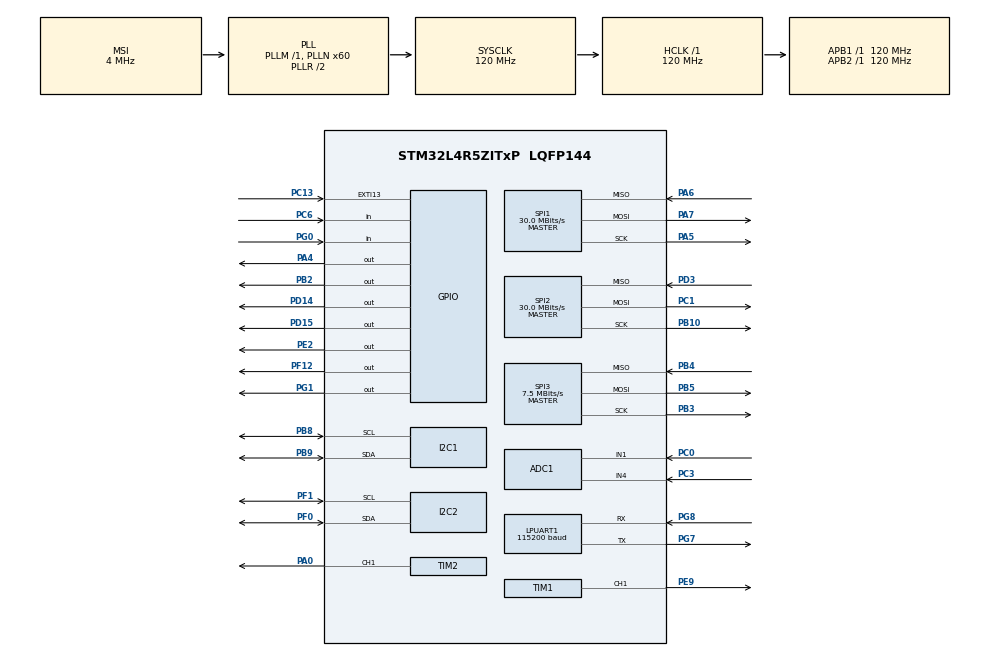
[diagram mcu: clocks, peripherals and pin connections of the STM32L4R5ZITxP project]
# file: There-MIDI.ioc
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ADC1.Channel-0\#ChannelRegularConversion=ADC_CHANNEL_1
ADC1.ClockPrescaler=ADC_CLOCK_ASYNC_DIV64
ADC1.NbrOfConversionFlag=1
ADC1.OffsetNumber-0\#ChannelRegularConversion=ADC_OFFSET_NONE
ADC1.Rank-0\#ChannelRegularConversion=1
ADC1.SamplingTime-0\#ChannelRegularConversion=ADC_SAMPLETIME_2CYCLES_5
ADC1.master=1
Dma.Request0=SPI1_TX
Dma.Request1=TIM2_CH1
Dma.Request2=TIM1_CH1
Dma.SPI1_TX.0.Direction=DMA_MEMORY_TO_PERIPH
Dma.SPI1_TX.0.EventEnable=DISABLE
Dma.SPI1_TX.0.Instance=DMA1_Channel2
Dma.SPI1_TX.0.MemDataAlignment=DMA_MDATAALIGN_BYTE
Dma.SPI1_TX.0.MemInc=DMA_MINC_ENABLE
Dma.SPI1_TX.0.Mode=DMA_NORMAL
Dma.SPI1_TX.0.PeriphDataAlignment=DMA_PDATAALIGN_BYTE
Dma.SPI1_TX.0.PeriphInc=DMA_PINC_DISABLE
Dma.SPI1_TX.0.Polarity=HAL_DMAMUX_REQUEST_GEN_RISING
Dma.SPI1_TX.0.Priority=DMA_PRIORITY_LOW
Dma.SPI1_TX.0.RequestNumber=1
Dma.SPI1_TX.0.SignalID=NONE
Dma.SPI1_TX.0.SyncEnable=DISABLE
Dma.SPI1_TX.0.SyncPolarity=HAL_DMAMUX_SYNC_NO_EVENT
Dma.SPI1_TX.0.SyncRequestNumber=1
Dma.SPI1_TX.0.SyncSignalID=NONE
Dma.TIM1_CH1.2.Direction=DMA_MEMORY_TO_PERIPH
Dma.TIM1_CH1.2.EventEnable=DISABLE
Dma.TIM1_CH1.2.Instance=DMA1_Channel1
Dma.TIM1_CH1.2.MemDataAlignment=DMA_MDATAALIGN_WORD
Dma.TIM1_CH1.2.MemInc=DMA_MINC_ENABLE
Dma.TIM1_CH1.2.Mode=DMA_NORMAL
Dma.TIM1_CH1.2.PeriphDataAlignment=DMA_PDATAALIGN_WORD
Dma.TIM1_CH1.2.PeriphInc=DMA_PINC_DISABLE
Dma.TIM1_CH1.2.Polarity=HAL_DMAMUX_REQUEST_GEN_RISING
Dma.TIM1_CH1.2.Priority=DMA_PRIORITY_LOW
Dma.TIM1_CH1.2.RequestNumber=1
Dma.TIM1_CH1.2.SignalID=NONE
Dma.TIM1_CH1.2.SyncEnable=DISABLE
Dma.TIM1_CH1.2.SyncPolarity=HAL_DMAMUX_SYNC_NO_EVENT
Dma.TIM1_CH1.2.SyncRequestNumber=1
Dma.TIM1_CH1.2.SyncSignalID=NONE
Dma.TIM2_CH1.1.Direction=DMA_MEMORY_TO_PERIPH
Dma.TIM2_CH1.1.EventEnable=DISABLE
Dma.TIM2_CH1.1.Instance=DMA1_Channel3
Dma.TIM2_CH1.1.MemDataAlignment=DMA_MDATAALIGN_WORD
Dma.TIM2_CH1.1.MemInc=DMA_MINC_ENABLE
Dma.TIM2_CH1.1.Mode=DMA_NORMAL
Dma.TIM2_CH1.1.PeriphDataAlignment=DMA_PDATAALIGN_WORD
Dma.TIM2_CH1.1.PeriphInc=DMA_PINC_DISABLE
Dma.TIM2_CH1.1.Polarity=HAL_DMAMUX_REQUEST_GEN_RISING
Dma.TIM2_CH1.1.Priority=DMA_PRIORITY_LOW
Dma.TIM2_CH1.1.RequestNumber=1
Dma.TIM2_CH1.1.SignalID=NONE
Dma.TIM2_CH1.1.SyncEnable=DISABLE
Dma.TIM2_CH1.1.SyncPolarity=HAL_DMAMUX_SYNC_NO_EVENT
Dma.TIM2_CH1.1.SyncRequestNumber=1
Dma.TIM2_CH1.1.SyncSignalID=NONE
I2C1.Timing=0x30A175AB
I2C2.Timing=0x30A175AB
LPUART1.BaudRate=115200
LPUART1.WordLength=UART_WORDLENGTH_8B
Mcu.Family=STM32L4
Mcu.Name=STM32L4R5ZITxP
Mcu.Package=LQFP144
NVIC.DMA1_Channel1_IRQn=true\:0\:0\:false\:false\:true\:false\:true\:true
NVIC.DMA1_Channel2_IRQn=true\:0\:0\:false\:false\:true\:false\:true\:true
NVIC.DMA1_Channel3_IRQn=true\:0\:0\:false\:false\:true\:false\:true\:true
NVIC.EXTI15_10_IRQn=true\:0\:0\:false\:false\:true\:true\:true\:true
NVIC.PriorityGroup=NVIC_PRIORITYGROUP_4
NVIC.SPI1_IRQn=true\:0\:0\:false\:false\:true\:true\:true\:true
PA0.Signal=S_TIM2_CH1
PA1.Signal=ADCx_IN6
PA10.Signal=USB_OTG_FS_ID
PA13\ (JTMS/SWDIO).Signal=SYS_JTMS-SWDIO
PA14\ (JTCK/SWCLK).Signal=SYS_JTCK-SWCLK
PA3.Signal=ADCx_IN8
PA4.Signal=GPIO_Output
PA5.Mode=Full_Duplex_Master
PA5.Signal=SPI1_SCK
PA6.Mode=Full_Duplex_Master
PA6.Signal=SPI1_MISO
PA7.Mode=Full_Duplex_Master
PA7.Signal=SPI1_MOSI
PA8.Signal=USB_OTG_FS_SOF
PA9.Signal=USB_OTG_FS_VBUS
PB0.Signal=S_TIM3_CH3
PB1.Signal=ADCx_IN16
PB10.Mode=Full_Duplex_Master
PB10.Signal=SPI2_SCK
PB12.Signal=SAI2_FS_A
PB13.Signal=SAI2_SCK_A
PB14.Signal=S_TIM15_CH1
PB15.Signal=SAI2_SD_A
PB2.Signal=GPIO_Output
PB3\ (JTDO/TRACESWO).Mode=Full_Duplex_Master
PB3\ (JTDO/TRACESWO).Signal=SPI3_SCK
PB4\ (NJTRST).Mode=Full_Duplex_Master
PB4\ (NJTRST).Signal=SPI3_MISO
PB5.Mode=Full_Duplex_Master
PB5.Signal=SPI3_MOSI
PB6.Signal=COMP2_INP
PB8.Mode=I2C
PB8.Signal=I2C1_SCL
PB9.Mode=I2C
PB9.Signal=I2C1_SDA
PC0.Signal=ADCx_IN1
PC1.Mode=Full_Duplex_Master
PC1.Signal=SPI2_MOSI
PC10.Signal=SDMMC1_D2
PC11.Signal=SDMMC1_D3
PC12.Signal=SDMMC1_CK
PC13.Signal=GPXTI13
PC14-OSC32_IN\ (PC14).Signal=RCC_OSC32_IN
PC15-OSC32_OUT\ (PC15).Signal=RCC_OSC32_OUT
PC3.Signal=ADCx_IN4
PC4.Signal=ADCx_IN13
PC5.Signal=ADCx_IN14
PC6.Signal=GPIO_Input
PC7.Signal=S_TIM3_CH2
PC8.Signal=SDMMC1_D0
PC9.Signal=SDMMC1_D1
PD0.Signal=CAN1_RX
PD14.Signal=GPIO_Output
PD15.Signal=GPIO_Output
PD2.Signal=SDMMC1_CMD
PD3.Mode=Full_Duplex_Master
PD3.Signal=SPI2_MISO
PD4.Signal=USART2_RTS
PD5.Signal=USART2_TX
PD6.Signal=USART2_RX
PD8.Signal=USART3_TX
PD9.Signal=USART3_RX
PE0.Signal=S_TIM4_ETR
PE10.Signal=TIM1_CH2N
PE11.Signal=S_TIM1_CH2
PE12.Signal=TIM1_CH3N
PE13.Signal=S_TIM1_CH3
PE14.Signal=TIM1_BKIN2
PE15.Signal=TIM1_BKIN
PE2.Signal=GPIO_Output
PE3.Signal=SAI1_SD_B
PE7.Signal=S_TIM1_ETR
PE8.Signal=TIM1_CH1N
PE9.Signal=S_TIM1_CH1
PF0.Mode=I2C
PF0.Signal=I2C2_SDA
PF1.Mode=I2C
PF1.Signal=I2C2_SCL
PF12.Signal=GPIO_Output
PF2.Signal=I2C2_SMBA
PF7.Signal=SAI1_MCLK_B
PG0.Signal=GPIO_Input
PG1.Signal=GPIO_Output
PG7.Mode=Asynchronous
PG7.Signal=LPUART1_TX
PG8.Mode=Asynchronous
PG8.Signal=LPUART1_RX
PH0-OSC_IN\ (PH0).Mode=HSE-External-Oscillator
PH0-OSC_IN\ (PH0).Signal=RCC_OSC_IN
PH1-OSC_OUT\ (PH1).Mode=HSE-External-Oscillator
PH1-OSC_OUT\ (PH1).Signal=RCC_OSC_OUT
ProjectManager.HeapSize=0x200
ProjectManager.StackSize=0x400
ProjectManager.TargetToolchain=STM32CubeIDE
RCC.ADCFreq_Value=32000000
RCC.AHBFreq_Value=120000000
RCC.APB1Freq_Value=120000000
RCC.APB1TimFreq_Value=120000000
RCC.APB2Freq_Value=120000000
RCC.APB2TimFreq_Value=120000000
RCC.CortexFreq_Value=120000000
RCC.HCLKFreq_Value=120000000
RCC.HSE_VALUE=8000000
RCC.HSI48_VALUE=48000000
RCC.HSI_VALUE=16000000
RCC.LSE_VALUE=32768
RCC.MSI_VALUE=4000000
RCC.PLLN=60
RCC.PLLSAI1N=16
RCC.SYSCLKFreq_VALUE=120000000
RCC.SYSCLKSource=RCC_SYSCLKSOURCE_PLLCLK
RCC.USBFreq_Value=32000000
RCC.VCOOutputFreq_Value=240000000
SH.ADCx_IN1.0=ADC1_IN1,IN1-Single-Ended
SH.ADCx_IN13.0=ADC1_IN13
SH.ADCx_IN14.0=ADC1_IN14
SH.ADCx_IN16.0=ADC1_IN16
SH.ADCx_IN4.0=ADC1_IN4,IN4-Single-Ended
SH.ADCx_IN6.0=ADC1_IN6
SH.ADCx_IN8.0=ADC1_IN8
SH.S_TIM15_CH1.0=TIM15_CH1
SH.S_TIM1_CH1.0=TIM1_CH1,PWM Generation1 CH1
SH.S_TIM1_CH2.0=TIM1_CH2
SH.S_TIM1_CH3.0=TIM1_CH3
SH.S_TIM1_ETR.0=TIM1_ETR
SH.S_TIM2_CH1.0=TIM2_CH1,PWM Generation1 CH1
SH.S_TIM3_CH2.0=TIM3_CH2
SH.S_TIM3_CH3.0=TIM3_CH3
SH.S_TIM4_ETR.0=TIM4_ETR
SPI1.BaudRatePrescaler=SPI_BAUDRATEPRESCALER_4
SPI1.CalculateBaudRate=30.0 MBits/s
SPI1.DataSize=SPI_DATASIZE_8BIT
SPI1.Direction=SPI_DIRECTION_2LINES
SPI1.Mode=SPI_MODE_MASTER
SPI1.VirtualType=VM_MASTER
SPI2.BaudRatePrescaler=SPI_BAUDRATEPRESCALER_4
SPI2.CalculateBaudRate=30.0 MBits/s
SPI2.DataSize=SPI_DATASIZE_8BIT
SPI2.Direction=SPI_DIRECTION_2LINES
SPI2.Mode=SPI_MODE_MASTER
SPI2.VirtualType=VM_MASTER
SPI3.BaudRatePrescaler=SPI_BAUDRATEPRESCALER_16
SPI3.CalculateBaudRate=7.5 MBits/s
SPI3.DataSize=SPI_DATASIZE_8BIT
SPI3.Direction=SPI_DIRECTION_2LINES
SPI3.Mode=SPI_MODE_MASTER
SPI3.VirtualType=VM_MASTER
TIM1.Channel-PWM\ Generation1\ CH1=TIM_CHANNEL_1
TIM1.Period=149
TIM2.Channel-PWM\ Generation1\ CH1=TIM_CHANNEL_1
TIM2.Period=149
VP_TIM1_VS_ClockSourceINT.Mode=Internal
VP_TIM2_VS_ClockSourceINT.Mode=Internal
board=NUCLEO-L4R5ZI-P

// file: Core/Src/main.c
/* USER CODE BEGIN Header */
/**
  ******************************************************************************
  * @file           : main.c
  * @brief          : Main program body
  ******************************************************************************
  * @attention
  *
  * Copyright (c) 2025 STMicroelectronics.
  * All rights reserved.
  *
  * This software is licensed under terms that can be found in the LICENSE file
  * in the root directory of this software component.
  * If no LICENSE file comes with this software, it is provided AS-IS.
  *
  ******************************************************************************
  */
/* USER CODE END Header */
#include "main.h"

/* USER CODE BEGIN Includes */
#include "stdio.h"
#include <stdint.h>
extern const uint8_t blank_home[];
/* USER CODE END Includes */

ADC_HandleTypeDef hadc1;

I2C_HandleTypeDef hi2c1;
I2C_HandleTypeDef hi2c2;

UART_HandleTypeDef hlpuart1;

SPI_HandleTypeDef hspi1;
SPI_HandleTypeDef hspi2;
SPI_HandleTypeDef hspi3;
DMA_HandleTypeDef hdma_spi1_tx;

TIM_HandleTypeDef htim1;
TIM_HandleTypeDef htim2;
DMA_HandleTypeDef hdma_tim1_ch1;
DMA_HandleTypeDef hdma_tim2_ch1;

/* USER CODE BEGIN PV */
#define ToF_W 0x52
#define ToF_R 0x53
#define _4x4 ((uint8_t) 16U)
#define _8x8 ((uint8_t) 64U)
#define continuous 1U
#define Auto 3U
#define RIGHT_CENTER_1 19
#define RIGHT_CENTER_2 20
#define CENTER_ZONE_1 27
#define CENTER_ZONE_2 28
#define CENTER_ZONE_3 35
#define CENTER_ZONE_4 36
#define LEFT_CENTER_1 43
#define LEFT_CENTER_2 44
#define NUM_CHANS 2U
#define LED_MAX 6
#define USE_BRIGHTNESS 1 // 1 = control brightness, 0 = not controlling brightness
#define MAX_PEDAL_VAL 3000U
#define PI 3.14159265
#define TIM_1 ((TIM_TypeDef *) (((0x40000000UL) + 0x00010000UL) + 0x2C00UL))

#define OCTAVE 12U
#define PLAY_ZONE_SIZE 4
#define NOTE_RANGE 18
#define NUM_SCALES 3
#define NUM_INSTRUMENTS 17

#define B1_PORT			GPIOE
#define B1_PIN			GPIO_PIN_10 // last SPI status

#define	B2_PORT			GPIOE
#define	B2_PIN			GPIO_PIN_7 // PB0 reset

#define B3_PORT			GPIOE
#define B3_PIN			GPIO_PIN_8 // command start

#define B4_PORT			GPIOF
#define B4_PIN			GPIO_PIN_15 // Data start

#define B5_PORT			GPIOE
#define B5_PIN			GPIO_PIN_13 // Data start

uint8_t resolution=_8x8, ranging_frequency=15, sharpener_percent=20;
uint16_t integration_time=20;
uint8_t data_to_transfer=0;
uint16_t Tof_values_1[64], Tof_values_2[64]; // 64(8x8) max size

ADC_ChannelConfTypeDef ADC_Chan_Config = {0};
uint32_t ADC_vals[NUM_CHANS], ADC_Channels[NUM_CHANS] = {ADC_CHANNEL_1, ADC_CHANNEL_4};

/* USER CODE END PV */

void SystemClock_Config(void);
static void MX_GPIO_Init(void);
static void MX_DMA_Init(void);
static void MX_SPI1_Init(void);
static void MX_SPI3_Init(void);
static void MX_LPUART1_UART_Init(void);
static void MX_I2C1_Init(void);
static void MX_I2C2_Init(void);
static void MX_SPI2_Init(void);
static void MX_TIM2_Init(void);
static void MX_TIM1_Init(void);
static void MX_ADC1_Init(void);

/* USER CODE BEGIN 0 */

#define TEXT_X 125
#define TEXT_Y 210

#define Oct_text_X 260
#define Oct_text_Y 140

#define Scale_text_X 20
#define Scale_text_Y 120
#define Scale_Spacing 25

#define inst_X 110
#define inst_Y 65

int scale_count = 0;
int inst_counter = 0;

void HAL_GPIO_EXTI_Callback(uint16_t pin) {
	HAL_NVIC_SystemReset();
}

char* Intruments[NUM_INSTRUMENTS] = {"Piano", "Vibraphone", "Acoustic Guitar", "Electric Guitar", "Violin", "Trumpet", "Alto Saxophone", "Ocarina", "Sci-Fi", "Timpani", "Goblins", "Helicopter", "Flute",
									 "Choir", "Marimba", "Telephone", "Gunshots"};
char* Notes[29] = {"C", "C#", "D", "D#", "E", "F", "F#", "G", "G#", "A", "A#", "B", "C", "C#", "D", "D#", "E", "F", "F#", "G", "G#", "A", "A#", "B","C", "C#", "D", "D#", "E"};

uint8_t scales[NUM_SCALES][NOTE_RANGE+1] = {{0,1,2,3,4,5,6,7,8,9,10,11,12,13,14,15,16,17,18},{0,2,4,5,7,9,11,12,14,16,17,19,21,23,24,26,28},{0,2,3,5,7,8,10,12,14,15,17,19,20,22,24,26,27}};
uint8_t instruments[NUM_INSTRUMENTS] = {MEL_GRAND_PIANO, MEL_VIBRAPHONE, MEL_A_GUITAR,
									    MEL_E_GUITAR, MEL_VIOLIN, MEL_TRUMPET, MEL_A_SAX,
									    MEL_OCARINA, MEL_SCIFI, MEL_Timpani, MEL_GOBLINS, MEL_HELICOPTER,
										MEL_FLUTE, MEL_CHOIR, MEL_MARIMBA, MEL_TELEPHONE, MEL_GUNSHOTS};
uint8_t LED_Data_1[LED_MAX][4], LED_Data_2[LED_MAX][4];
uint8_t LED_Mod_1[LED_MAX][4], LED_Mod_2[LED_MAX][4]; // for brightness

int datasentflag_1 = 0; // ensures DMA is not sending another data when first DMA is still being transmitted
int datasentflag_2 = 0;

void HAL_TIM_PWM_PulseFinishedCallback(TIM_HandleTypeDef *htim) {
	if (  htim->Instance == TIM_1)
	{
		HAL_TIM_PWM_Stop_DMA(&htim1, TIM_CHANNEL_1);
		datasentflag_1 = 1;
	}
	else
	{
		HAL_TIM_PWM_Stop_DMA(&htim2, TIM_CHANNEL_1);
		datasentflag_2 = 1;
	}
}

void Set_LED (uint8_t (*LED)[4], int LEDnum, int Red, int Green, int Blue) {
	LED[LEDnum][0] = LEDnum;
	LED[LEDnum][1] = Green;
	LED[LEDnum][2] = Red;
	LED[LEDnum][3] = Blue;
}

void Set_Brightness(uint8_t (*LED_D)[4], uint8_t (*LED_M)[4], int brightness) // 0 - 45
{
#if USE_BRIGHTNESS
	if (brightness > 45) {
		brightness = 45;
	}

	for (int i = 0; i < LED_MAX; i++) {
		LED_M[i][0] = LED_D[i][0];

		for (int j = 1; j < 4; j++) {
			float angle = 90 - brightness; // in degrees
			angle = angle * PI / 180; // in radians
			LED_M[i][j] = (LED_D[i][j]);
		}
	}
#endif
}

uint32_t pwmData_1[(24*LED_MAX) + 50];
uint32_t pwmData_2[(24*LED_MAX) + 50];

void WS2812_Send (uint32_t* pmw_D, uint8_t (*LED_M)[4], int timer) {
	uint32_t indx = 0;
	uint32_t color;

	for (int i = 0; i < LED_MAX; i++) {
		color = ((LED_M[i][1] << 16) | (LED_M[i][2] << 8) | (LED_M[i][3])); // GREEN RED BLUE

		for (int j = 23; j >= 0; j--) {
			if (color & (1<<j)) {
				pmw_D[indx] = 84; // 2/3 of 149 (reload value)
			}
			else {
				pmw_D[indx] = 42; // 1/3 of 149 (reload value)
			}

			indx++;
		}
	}

	// sending 50 bits of 0 to signify end of data transfer
	for (int i = 0; i < 50; i++) {
		pmw_D[indx] = 0;
		indx++;
	}
	if (timer == 1)
	{
		HAL_TIM_PWM_Start_DMA(&htim1, TIM_CHANNEL_1, (uint32_t *)pmw_D, indx);
		while (!datasentflag_1) {}; // DMA has been stopped and can send another set of data now
		datasentflag_1 = 0;
	} else
	{
		HAL_TIM_PWM_Start_DMA(&htim2, TIM_CHANNEL_1, (uint32_t *)pmw_D, indx);
		while (!datasentflag_2) {}; // DMA has been stopped and can send another set of data now
		datasentflag_2 = 0;
	}
}

void send(uint32_t* pmw_D, int Green, int Red, int Blue, int timer) {
	uint32_t data = (Green << 16) | (Red << 8) | Blue;

	for (int i = 23; i >= 0; i--) {
		if (data & (1 << i)) {
			pmw_D[i] = 26;
		}
		else {
			pmw_D[i] = 13;
		}
	}

	if (timer == 1)
	{
		HAL_TIM_PWM_Start_DMA(&htim1, TIM_CHANNEL_1, pmw_D, 24);
	} else
	{
		HAL_TIM_PWM_Start_DMA(&htim2, TIM_CHANNEL_1, pmw_D, 24);
	}
}
 void sensor2LED(uint8_t output, uint8_t sensor) {
	 uint8_t num, light;
	 if (sensor == 1)
	 {
		 num = output / 21;
		 light = (int)(output / 10.5) % 2;
	 }
	 else
	 {
		 num = output / 2;
		 light = output % 2;
		 if (num > 6) num = 6;
	 }

	 // start with all off
	 for (int i = 0; i < LED_MAX; i++)
	 	 {
	 		 if (sensor == 1)Set_LED(LED_Data_2, (LED_MAX-1-i),0,0,0);

	 		 else Set_LED(LED_Data_1, (LED_MAX-1-i),0,0,0);
	 	 }
	 int blue =55, green = 80;
	 for (int i = 0; i < (num+light); i++)
	 {
		 if (sensor == 1)
			 if (light && (i == (num+light)-1)) Set_LED(LED_Data_2, (LED_MAX-1-i),0,0,blue);
			 else Set_LED(LED_Data_2, (LED_MAX-1-i),0,green,blue);

		 else
			 if (light && (i == (num+light)-1)) Set_LED(LED_Data_1, (LED_MAX-1-i),0,0,blue);
			 else Set_LED(LED_Data_1, (LED_MAX-1-i),0,green,blue);
	 }

	 if (sensor == 1)
	 {
		 Set_Brightness(LED_Data_2, LED_Mod_2, 25);
		 WS2812_Send(pwmData_2, LED_Mod_2,2);
	 }
	 else
	 {
		 Set_Brightness(LED_Data_1, LED_Mod_1, 25);
		 WS2812_Send(pwmData_1, LED_Mod_1,1);
	 }

 }
 uint8_t sensorInit(VL53L7CX_Configuration* Dev, int port, uint8_t* isAlive) {
	 printf("VL53L7CX sensor %d Initialization start\r\n", port);
	 Dev->platform.address = ToF_W;
	 if (port == 1) Dev->platform.i2c = hi2c1;
	 else if (port == 2) Dev->platform.i2c = hi2c2;

	 uint8_t status = vl53l7cx_is_alive(Dev, isAlive);
	if(!(*isAlive) || status)
	{
		printf("VL53L7CX sensor %d not detected at requested address\r\n", port);
		return status;
	}

	status |= vl53l7cx_init(Dev);
	status |= vl53l7cx_set_ranging_mode(Dev, Auto);
	status |= vl53l7cx_set_resolution(Dev, resolution);
	status |= vl53l7cx_set_ranging_frequency_hz(Dev, ranging_frequency);
	status |= vl53l7cx_set_integration_time_ms(Dev, integration_time);
	status |= vl53l7cx_set_sharpener_percent(Dev, sharpener_percent);
	status |= vl53l7cx_start_ranging(Dev);

	return status;
 };

 // Comparison function for integers (ascending order)
 uint16_t compareIntegers(const void *a, const void *b) {
	 uint16_t valA = *(const uint16_t *)a;
	 uint16_t valB = *(const uint16_t *)b;
     return valA - valB; // For descending order, return valB - valA;
 }

 // get average of the 2 lowest or highest zones out of 4 based on the sensor
 uint8_t _4ZonesVal(uint16_t* Values, int sensor, int ZONE_1, int ZONE_2, int ZONE_3, int ZONE_4) {
	 uint16_t x [4] = {Values[ZONE_1], Values[ZONE_2], Values[ZONE_3], Values[ZONE_4]};

	 qsort (x, 4, 2, compareIntegers);

	 if (sensor == 1) return (x[2] + x[3]) / 2;
	 return  (x[0] + x[1]) / 2;
 }

void Get_ADC_Vals(uint32_t* tempo, uint32_t* treble_bass)
{
	for (int i = 0; i < NUM_CHANS; i++)
	{
		ADC_Chan_Config.Channel = ADC_Channels[i];
		if (HAL_ADC_ConfigChannel(&hadc1, &ADC_Chan_Config) != HAL_OK)
		{
		Error_Handler();
		}
		HAL_ADC_Start(&hadc1);//start conversion
		HAL_ADC_PollForConversion(&hadc1, 10);//wait for conversion to finish
		ADC_vals[i] = HAL_ADC_GetValue(&hadc1);//retrieve value
	}
	*tempo = ADC_vals[0];

	if(*tempo < 50) {
		*tempo = 50;
	}

	*treble_bass = ADC_vals[1];
}

uint16_t Button1[4] = {}, Button2[4] = {}, Button3[4] = {}, Button4[4] = {}, Button5[4] = {}; // Xmin, Xmax, Ymin, Ymax
int zoneClicked (uint16_t x, uint16_t y, uint16_t* button){
	return (((x > button[0]) && (x < button[1])) && ((y > button[2]) && (y < button[3])));
}

//int instr = 0;
void change_instrument(int direction)
{
	int index = inst_counter % NUM_INSTRUMENTS;          // may still be negative
	if (index < 0)
		index += NUM_INSTRUMENTS;

	midi_SetInstrument(0,instruments[(index)]);
	printf("MIDI Index: %d\r\n", index);
}

int root = 60;
void change_octave(int direction)
{
	if (direction)
	{
		root += 12;
		if (root > 120) root = 108;
	}
	else
	{
		root -= 12;
		if (root < 0) root = 0;
	}
}
int scale = 0;
void change_scale(void)
{
	if (++scale == NUM_SCALES) scale = 0;
}

void intToSignedStr(int n, char *out)
{
    if (n > 0) {
        // Add '+' then number
        out[0] = '+';
        sprintf(out + 1, "%d", n);
    }
    else if(n == 0 ) {
    	out[0] = ' ';
    	sprintf(out + 1, "%d", n);
    }
    else {
        // For zero and negatives, sprintf is correct:
        // 0   -> "0"
        // -5  -> "-5"
        sprintf(out, "%d", n);
    }
}

void drawScale() {
	  char * chro = "CHRO";
	  char * major = "MAJOR";
	  char * minor = "MINOR";

	  if(scale_count % 3 == 0) {
		  drawText(Scale_text_X, Scale_text_Y, chro, ILI9488_RED, 2);
		  drawText(Scale_text_X, Scale_text_Y + Scale_Spacing, major, ILI9488_WHITE, 2);
		  drawText(Scale_text_X, Scale_text_Y + (2 * Scale_Spacing), minor, ILI9488_WHITE, 2);
	  }
	  else if(scale_count % 3 == 1) {
		  drawText(Scale_text_X, Scale_text_Y, chro, ILI9488_WHITE, 2);
		  drawText(Scale_text_X, Scale_text_Y + Scale_Spacing, major, ILI9488_RED, 2);
		  drawText(Scale_text_X, Scale_text_Y + (2 * Scale_Spacing), minor, ILI9488_WHITE, 2);
	  }
	  else {
		  drawText(Scale_text_X, Scale_text_Y, chro, ILI9488_WHITE, 2);
		  drawText(Scale_text_X, Scale_text_Y + Scale_Spacing, major, ILI9488_WHITE, 2);
		  drawText(Scale_text_X, Scale_text_Y + (2 * Scale_Spacing), minor, ILI9488_RED, 2);
	  }

	  scale_count++;
}

void draw_inst() {
	int index = inst_counter % NUM_INSTRUMENTS;          // may still be negative
	if (index < 0)
		index += NUM_INSTRUMENTS;
	char * temp = "                      ";
	drawTextBG(inst_X, inst_Y, temp, ILI9488_WHITE, ILI9488_BLACK, 2);
	drawTextBG(inst_X, inst_Y, Intruments[index], ILI9488_WHITE, ILI9488_BLACK, 2);

	printf("Display Index: %d\r\n", index);
}

/* USER CODE END 0 */

int main(void)
{

  /* USER CODE BEGIN 1 */
	uint8_t status_1, isAlive_1, status_2, isAlive_2;			// 1 = volume  | 2 = pitch
	VL53L7CX_Configuration Dev_1, Dev_2; /* Sensor configuration */
	VL53L7CX_ResultsData 	Results_1, Results_2;  // Sensor read out info

  /* USER CODE END 1 */

  /* MCU Configuration--------------------------------------------------------*/

  /* Reset of all peripherals, Initializes the Flash interface and the Systick. */
  HAL_Init();

  /* Configure the system clock */
  SystemClock_Config();

  /* Initialize all configured peripherals */
  MX_GPIO_Init();
  MX_DMA_Init();
  MX_SPI1_Init();
  MX_SPI3_Init();
  MX_LPUART1_UART_Init();
  MX_I2C1_Init();
  MX_I2C2_Init();
  MX_SPI2_Init();
  MX_TIM2_Init();
  MX_TIM1_Init();
  MX_ADC1_Init();
  /* USER CODE BEGIN 2 */
  //ILI9488_Init();
  xpt2046_init();
  ILI9488_Init();

  setRotation(2);

  drawImage(blank_home, 0, 0, 320, 480);

  char oct[2];
  int oct_int = 0;
  intToSignedStr(oct_int, oct);
  drawText(Oct_text_X, Oct_text_Y, oct, ILI9488_WHITE, 4);

  drawScale();

  draw_inst();

  xpt2046_spi(&hspi3);
  xpt2046_orientation(2);

  uint16_t x;
  uint16_t y;

  status_1 = sensorInit(&Dev_1, 1, &isAlive_1);
  	status_2 = sensorInit(&Dev_2, 2, &isAlive_2);
  	printf("MIDI Board initialization\r\n");
  	if(midi_Init())
  	{
  		printf("MIDI Board failed\r\n");
  		HAL_NVIC_SystemReset();
  		return 3;
  	}
    	if(status_1)
    	{
    		printf("Volume VL53L7CX ULD Loading failed (Volume)\r\n");
    		ToFSensor_failure();
    		HAL_NVIC_SystemReset();
    		return 1;
    	}
    	if(status_2)
  	{
  		printf("Pitch VL53L7CX ULD Loading failed (pitch)\r\n");
  		ToFSensor_failure();
  		HAL_NVIC_SystemReset();
  		return 2;
  	}
    	printf("VL53L7CX ULD ready ! (Version : %s)\r\n",VL53L7CX_API_REVISION);
    	ToFSensor_sucess();

  ADC_Chan_Config.Rank = ADC_REGULAR_RANK_1;
  	ADC_Chan_Config.SamplingTime = ADC_SAMPLETIME_92CYCLES_5;
  	ADC_Chan_Config.SingleDiff = ADC_SINGLE_ENDED;
  	ADC_Chan_Config.OffsetNumber = ADC_OFFSET_NONE;
  	ADC_Chan_Config.Offset = 0;
   	uint8_t vol_scale = 6, note = 0, vol = 0, last_note, fx; // defualt is middle C
  	uint32_t tempo = 0, Trb_Bass = 0;

  /* USER CODE END 2 */

  /* Infinite loop */
  /* USER CODE BEGIN WHILE */
  while (1)
  {
	  xpt2046_read_touch(&x, &y);
	  printf("X: %d, Y: %d \n\r", x, y);

	  //octave+
	  if(x != 0 && x > 240 && x < 380 && y != 0 && y < 140) {
		  oct_int++;

		  if(oct_int > 4) {
			  oct_int = 4;
		  }

		  intToSignedStr(oct_int, oct);
		  int temp;
		  if(oct_int > 0) {
			  temp = ILI9488_RED;
		  }
		  else if(oct_int < 0) {
			  temp = ILI9488_BLUE;
		  }
		  else {
			  temp = ILI9488_WHITE;
		  }
		  drawTextBG(Oct_text_X, Oct_text_Y, oct, temp, ILI9488_BLACK, 4);
		  change_octave(1);
	  }
	  //octave -
	  if(x != 0 && x > 380 && x < 460 && y != 0 && y < 140) {
	  		  oct_int--;

	  		if(oct_int < -5) {
				  oct_int = -5;
			  }

	  		  intToSignedStr(oct_int, oct);
	  		  int temp;
	  		  if(oct_int > 0) {
	  			  temp = ILI9488_RED;
	  		  }
	  		  else if(oct_int < 0) {
	  			  temp = ILI9488_BLUE;
	  		  }
	  		  else{
					  temp = ILI9488_WHITE;
				  }
	  		  drawTextBG(Oct_text_X, Oct_text_Y, oct, temp, ILI9488_BLACK, 4);
	  		change_octave(0);
	  	  }

	  //scale
	  if(x != 0 && x > 100 && x < 230 && y != 0 && y < 220 && y > 70) {
		  drawScale();
		  change_scale();
	  }

	  //inst +
	  if(x != 0 && x > 240 && x < 380 && y != 0 && y > 160) {
			inst_counter++;
			draw_inst();
			change_instrument(1);
	  }

	  //inst-
	  if(x != 0 && x > 390 && x < 460 && y != 0 && y > 150) {
		  inst_counter--;
		  draw_inst();
		  change_instrument(0);
	  }

	  last_note = note;
	  	  Get_ADC_Vals(&tempo, &Trb_Bass);
	  	  tempo *= 2; Trb_Bass *= 2; // scale pedal values
	  	  uint8_t bass = Trb_Bass/ (2*MAX_PEDAL_VAL/15); 		// process bass value
	  	  int treble = (Trb_Bass)/ (2*MAX_PEDAL_VAL/8);	// process treble value
	  	  treble *= -1;
	  	  midi_Treble_Bass(treble, bass);
//	  	  if (HAL_GPIO_ReadPin(B1_PORT, B1_PIN)) change_scale();
//	  	  if (HAL_GPIO_ReadPin(B2_PORT, B2_PIN)) change_instrument(0);//down
//	  	  if (HAL_GPIO_ReadPin(B3_PORT, B3_PIN)) change_instrument(1);//up
//	  	  if (HAL_GPIO_ReadPin(B4_PORT, B4_PIN)) change_octave(0);
//	  	  if (HAL_GPIO_ReadPin(B5_PORT, B5_PIN)) change_octave(1);
//
	  	  uint8_t data_ready_1 = 0, data_ready_2 = 0;
//
	  	  status_1 = vl53l7cx_check_data_ready(&Dev_1, &data_ready_1);
	  	  status_2 = vl53l7cx_check_data_ready(&Dev_2, &data_ready_2);

	  	  if (!data_ready_1) {
	  		  HAL_Delay(1);      // small backoff; frame rate set by sensor
	  		  continue;
	  	  }
	  	  if (!data_ready_2) {
	  		  HAL_Delay(1);      // small backoff; frame rate set by sensor
	  		  continue;
	  	  }

//	  	  // 2) Read the fresh frame
	  	  data_ready_1 = vl53l7cx_get_ranging_data(&Dev_1, &Results_1);
	  	  data_ready_2 = vl53l7cx_get_ranging_data(&Dev_2, &Results_2);
	  	 if (data_ready_1) {
	  		 printf("Volume: get_ranging_data error: %u\r\n", data_ready_1);
	  		 HAL_Delay(5);
	  		 continue;
	  	 }
	  	 if (data_ready_2) {
	  		 printf("Pitch: get_ranging_data error: %u\r\n", data_ready_2);
	  		 HAL_Delay(5);
	  		 continue;
	  	 }

//
//	  	 // 4) Copy/pack only VALID distances (status 5) for display
	  	 for (int zone = 0; zone < resolution; zone++) {
	  		 uint16_t cm_1 = 0, cm_2 = 0;

	  		cm_1 = (uint16_t)Results_1.distance_mm[zone]/10;
	  		cm_2 = (uint16_t)Results_2.distance_mm[zone]/10;

	  		 Tof_values_1[zone] = cm_1/PLAY_ZONE_SIZE; // [size] cm levels
	  		 Tof_values_2[zone] = cm_2/PLAY_ZONE_SIZE;
	  	 }
//	  	 	 // spot to add playing notes //
	  	 uint16_t _vol = vol_scale*_4ZonesVal(Tof_values_1, 1, CENTER_ZONE_1, CENTER_ZONE_2, CENTER_ZONE_3, CENTER_ZONE_4);
	  	 if (_vol > 127) _vol = 127;			// limit value
	  	 vol = 127 - _vol; // Close = load & far = quiet
	  	 uint8_t left_center = _4ZonesVal(Tof_values_2, 2, CENTER_ZONE_3, CENTER_ZONE_4, LEFT_CENTER_1, LEFT_CENTER_2);
	  	 uint8_t right_center = _4ZonesVal(Tof_values_2, 2, CENTER_ZONE_1, CENTER_ZONE_2, RIGHT_CENTER_1, RIGHT_CENTER_2);
	  	 if (left_center <= right_center)
	  	 {
	  		 note = left_center;
	  		 fx = 0; 					// no reverb
	  	 } else
	  	 {
	  		 note = right_center;
	  		 fx = 1;   					//  reverb
	  	 }
	  	 if (note > NOTE_RANGE) note = NOTE_RANGE; 		// stay within 1.5 octaves

	  	 sensor2LED(vol, 1);    // volume and pitch LED level
	  	 sensor2LED(note, 2);
	  	 note = scales[scale][note];    // set scale

	  	drawNoteWithSharpBG(TEXT_X, 320-TEXT_Y, Notes[note], ILI9488_BLACK, ILI9488_WHITE, 13, 5);

	  	//drawChar(TEXT_X, 320-TEXT_Y, 'C', ILI9488_BLACK, 13);//middle note

	  	 note += root;					// note  from the base note
	  	 if (note > 127) note = 127;
//	  	 // 5) Example print:
	  //	 uint8_t Z1=2,Z2=3,Z3=4,Z4=5;
	  	// printf("Volume: %02u|\t", vol);
	  	// printf("Note: %02u|\tReverb: %u|\tTempo: %04u|\tTreble&Bass: %d\t%02u|\tInstrument: %d|\tRoot: %d|\tScale: %d\r\n", note, fx, tempo, treble, bass, instr, oct, scale);
	  //	 printf("Zone %d value: %u| Zone %d value: %u| Zone %d value: %u| Zone %d value: %u\r\n", Z1, Tof_values_2[Z1], Z2, Tof_values_2[Z2], Z3, Tof_values_2[Z3], Z4, Tof_values_2[Z4]);
	  	 midi_SetChannelVolume(0, vol);
	  	 midi_SetChannelReverb(0, fx);
	  	 midiNoteOff(0, last_note, 127);
	  	 midiNoteOn(0, note, 127);

	  HAL_Delay(tempo);
    /* USER CODE END WHILE */

  }
}

void SystemClock_Config(void)
{
  RCC_OscInitTypeDef RCC_OscInitStruct = {0};
  RCC_ClkInitTypeDef RCC_ClkInitStruct = {0};

  /** Configure the main internal regulator output voltage
  */
  if (HAL_PWREx_ControlVoltageScaling(PWR_REGULATOR_VOLTAGE_SCALE1_BOOST) != HAL_OK)
  {
    Error_Handler();
  }

  /** Initializes the RCC Oscillators according to the specified parameters
  * in the RCC_OscInitTypeDef structure.
  */
  RCC_OscInitStruct.OscillatorType = RCC_OSCILLATORTYPE_MSI;
  RCC_OscInitStruct.MSIState = RCC_MSI_ON;
  RCC_OscInitStruct.MSICalibrationValue = 0;
  RCC_OscInitStruct.MSIClockRange = RCC_MSIRANGE_6;
  RCC_OscInitStruct.PLL.PLLState = RCC_PLL_ON;
  RCC_OscInitStruct.PLL.PLLSource = RCC_PLLSOURCE_MSI;
  RCC_OscInitStruct.PLL.PLLM = 1;
  RCC_OscInitStruct.PLL.PLLN = 60;
  RCC_OscInitStruct.PLL.PLLP = RCC_PLLP_DIV2;
  RCC_OscInitStruct.PLL.PLLQ = RCC_PLLQ_DIV2;
  RCC_OscInitStruct.PLL.PLLR = RCC_PLLR_DIV2;
  if (HAL_RCC_OscConfig(&RCC_OscInitStruct) != HAL_OK)
  {
    Error_Handler();
  }

  /** Initializes the CPU, AHB and APB buses clocks
  */
  RCC_ClkInitStruct.ClockType = RCC_CLOCKTYPE_HCLK|RCC_CLOCKTYPE_SYSCLK
                              |RCC_CLOCKTYPE_PCLK1|RCC_CLOCKTYPE_PCLK2;
  RCC_ClkInitStruct.SYSCLKSource = RCC_SYSCLKSOURCE_PLLCLK;
  RCC_ClkInitStruct.AHBCLKDivider = RCC_SYSCLK_DIV1;
  RCC_ClkInitStruct.APB1CLKDivider = RCC_HCLK_DIV1;
  RCC_ClkInitStruct.APB2CLKDivider = RCC_HCLK_DIV1;

  if (HAL_RCC_ClockConfig(&RCC_ClkInitStruct, FLASH_LATENCY_5) != HAL_OK)
  {
    Error_Handler();
  }
}

static void MX_ADC1_Init(void)
{

  ADC_ChannelConfTypeDef sConfig = {0};

  /** Common config
  */
  hadc1.Instance = ADC1;
  hadc1.Init.ClockPrescaler = ADC_CLOCK_ASYNC_DIV64;
  hadc1.Init.Resolution = ADC_RESOLUTION_12B;
  hadc1.Init.DataAlign = ADC_DATAALIGN_RIGHT;
  hadc1.Init.ScanConvMode = ADC_SCAN_DISABLE;
  hadc1.Init.EOCSelection = ADC_EOC_SINGLE_CONV;
  hadc1.Init.LowPowerAutoWait = DISABLE;
  hadc1.Init.ContinuousConvMode = DISABLE;
  hadc1.Init.NbrOfConversion = 1;
  hadc1.Init.DiscontinuousConvMode = DISABLE;
  hadc1.Init.ExternalTrigConv = ADC_SOFTWARE_START;
  hadc1.Init.ExternalTrigConvEdge = ADC_EXTERNALTRIGCONVEDGE_NONE;
  hadc1.Init.DMAContinuousRequests = DISABLE;
  hadc1.Init.Overrun = ADC_OVR_DATA_PRESERVED;
  hadc1.Init.OversamplingMode = DISABLE;
  if (HAL_ADC_Init(&hadc1) != HAL_OK)
  {
    Error_Handler();
  }

  /** Configure Regular Channel
  */
  sConfig.Channel = ADC_CHANNEL_1;
  sConfig.Rank = ADC_REGULAR_RANK_1;
  sConfig.SamplingTime = ADC_SAMPLETIME_2CYCLES_5;
  sConfig.SingleDiff = ADC_SINGLE_ENDED;
  sConfig.OffsetNumber = ADC_OFFSET_NONE;
  sConfig.Offset = 0;
  if (HAL_ADC_ConfigChannel(&hadc1, &sConfig) != HAL_OK)
  {
    Error_Handler();
  }

}

static void MX_I2C1_Init(void)
{

  hi2c1.Instance = I2C1;
  hi2c1.Init.Timing = 0x30A175AB;
  hi2c1.Init.OwnAddress1 = 0;
  hi2c1.Init.AddressingMode = I2C_ADDRESSINGMODE_7BIT;
  hi2c1.Init.DualAddressMode = I2C_DUALADDRESS_DISABLE;
  hi2c1.Init.OwnAddress2 = 0;
  hi2c1.Init.OwnAddress2Masks = I2C_OA2_NOMASK;
  hi2c1.Init.GeneralCallMode = I2C_GENERALCALL_DISABLE;
  hi2c1.Init.NoStretchMode = I2C_NOSTRETCH_DISABLE;
  if (HAL_I2C_Init(&hi2c1) != HAL_OK)
  {
    Error_Handler();
  }

  /** Configure Analogue filter
  */
  if (HAL_I2CEx_ConfigAnalogFilter(&hi2c1, I2C_ANALOGFILTER_ENABLE) != HAL_OK)
  {
    Error_Handler();
  }

  /** Configure Digital filter
  */
  if (HAL_I2CEx_ConfigDigitalFilter(&hi2c1, 0) != HAL_OK)
  {
    Error_Handler();
  }

}

static void MX_I2C2_Init(void)
{

  hi2c2.Instance = I2C2;
  hi2c2.Init.Timing = 0x30A175AB;
  hi2c2.Init.OwnAddress1 = 0;
  hi2c2.Init.AddressingMode = I2C_ADDRESSINGMODE_7BIT;
  hi2c2.Init.DualAddressMode = I2C_DUALADDRESS_DISABLE;
  hi2c2.Init.OwnAddress2 = 0;
  hi2c2.Init.OwnAddress2Masks = I2C_OA2_NOMASK;
  hi2c2.Init.GeneralCallMode = I2C_GENERALCALL_DISABLE;
  hi2c2.Init.NoStretchMode = I2C_NOSTRETCH_DISABLE;
  if (HAL_I2C_Init(&hi2c2) != HAL_OK)
  {
    Error_Handler();
  }

  /** Configure Analogue filter
  */
  if (HAL_I2CEx_ConfigAnalogFilter(&hi2c2, I2C_ANALOGFILTER_ENABLE) != HAL_OK)
  {
    Error_Handler();
  }

  /** Configure Digital filter
  */
  if (HAL_I2CEx_ConfigDigitalFilter(&hi2c2, 0) != HAL_OK)
  {
    Error_Handler();
  }

}

static void MX_LPUART1_UART_Init(void)
{

  hlpuart1.Instance = LPUART1;
  hlpuart1.Init.BaudRate = 115200;
  hlpuart1.Init.WordLength = UART_WORDLENGTH_8B;
  hlpuart1.Init.StopBits = UART_STOPBITS_1;
  hlpuart1.Init.Parity = UART_PARITY_NONE;
  hlpuart1.Init.Mode = UART_MODE_TX_RX;
  hlpuart1.Init.HwFlowCtl = UART_HWCONTROL_NONE;
  hlpuart1.Init.OneBitSampling = UART_ONE_BIT_SAMPLE_DISABLE;
  hlpuart1.Init.ClockPrescaler = UART_PRESCALER_DIV1;
  hlpuart1.AdvancedInit.AdvFeatureInit = UART_ADVFEATURE_NO_INIT;
  hlpuart1.FifoMode = UART_FIFOMODE_DISABLE;
  if (HAL_UART_Init(&hlpuart1) != HAL_OK)
  {
    Error_Handler();
  }
  if (HAL_UARTEx_SetTxFifoThreshold(&hlpuart1, UART_TXFIFO_THRESHOLD_1_8) != HAL_OK)
  {
    Error_Handler();
  }
  if (HAL_UARTEx_SetRxFifoThreshold(&hlpuart1, UART_RXFIFO_THRESHOLD_1_8) != HAL_OK)
  {
    Error_Handler();
  }
  if (HAL_UARTEx_DisableFifoMode(&hlpuart1) != HAL_OK)
  {
    Error_Handler();
  }

}

static void MX_SPI1_Init(void)
{

  /* SPI1 parameter configuration*/
  hspi1.Instance = SPI1;
  hspi1.Init.Mode = SPI_MODE_MASTER;
  hspi1.Init.Direction = SPI_DIRECTION_2LINES;
  hspi1.Init.DataSize = SPI_DATASIZE_8BIT;
  hspi1.Init.CLKPolarity = SPI_POLARITY_LOW;
  hspi1.Init.CLKPhase = SPI_PHASE_1EDGE;
  hspi1.Init.NSS = SPI_NSS_SOFT;
  hspi1.Init.BaudRatePrescaler = SPI_BAUDRATEPRESCALER_4;
  hspi1.Init.FirstBit = SPI_FIRSTBIT_MSB;
  hspi1.Init.TIMode = SPI_TIMODE_DISABLE;
  hspi1.Init.CRCCalculation = SPI_CRCCALCULATION_DISABLE;
  hspi1.Init.CRCPolynomial = 7;
  hspi1.Init.CRCLength = SPI_CRC_LENGTH_DATASIZE;
  hspi1.Init.NSSPMode = SPI_NSS_PULSE_ENABLE;
  if (HAL_SPI_Init(&hspi1) != HAL_OK)
  {
    Error_Handler();
  }

}

static void MX_SPI2_Init(void)
{

  /* SPI2 parameter configuration*/
  hspi2.Instance = SPI2;
  hspi2.Init.Mode = SPI_MODE_MASTER;
  hspi2.Init.Direction = SPI_DIRECTION_2LINES;
  hspi2.Init.DataSize = SPI_DATASIZE_8BIT;
  hspi2.Init.CLKPolarity = SPI_POLARITY_LOW;
  hspi2.Init.CLKPhase = SPI_PHASE_1EDGE;
  hspi2.Init.NSS = SPI_NSS_SOFT;
  hspi2.Init.BaudRatePrescaler = SPI_BAUDRATEPRESCALER_4;
  hspi2.Init.FirstBit = SPI_FIRSTBIT_MSB;
  hspi2.Init.TIMode = SPI_TIMODE_DISABLE;
  hspi2.Init.CRCCalculation = SPI_CRCCALCULATION_DISABLE;
  hspi2.Init.CRCPolynomial = 7;
  hspi2.Init.CRCLength = SPI_CRC_LENGTH_DATASIZE;
  hspi2.Init.NSSPMode = SPI_NSS_PULSE_ENABLE;
  if (HAL_SPI_Init(&hspi2) != HAL_OK)
  {
    Error_Handler();
  }

}

static void MX_SPI3_Init(void)
{

  /* SPI3 parameter configuration*/
  hspi3.Instance = SPI3;
  hspi3.Init.Mode = SPI_MODE_MASTER;
  hspi3.Init.Direction = SPI_DIRECTION_2LINES;
  hspi3.Init.DataSize = SPI_DATASIZE_8BIT;
  hspi3.Init.CLKPolarity = SPI_POLARITY_LOW;
  hspi3.Init.CLKPhase = SPI_PHASE_1EDGE;
  hspi3.Init.NSS = SPI_NSS_SOFT;
  hspi3.Init.BaudRatePrescaler = SPI_BAUDRATEPRESCALER_16;
  hspi3.Init.FirstBit = SPI_FIRSTBIT_MSB;
  hspi3.Init.TIMode = SPI_TIMODE_DISABLE;
  hspi3.Init.CRCCalculation = SPI_CRCCALCULATION_DISABLE;
  hspi3.Init.CRCPolynomial = 7;
  hspi3.Init.CRCLength = SPI_CRC_LENGTH_DATASIZE;
  hspi3.Init.NSSPMode = SPI_NSS_PULSE_ENABLE;
  if (HAL_SPI_Init(&hspi3) != HAL_OK)
  {
    Error_Handler();
  }

}

static void MX_TIM1_Init(void)
{

  TIM_ClockConfigTypeDef sClockSourceConfig = {0};
  TIM_MasterConfigTypeDef sMasterConfig = {0};
  TIM_OC_InitTypeDef sConfigOC = {0};
  TIM_BreakDeadTimeConfigTypeDef sBreakDeadTimeConfig = {0};

  htim1.Instance = TIM1;
  htim1.Init.Prescaler = 0;
  htim1.Init.CounterMode = TIM_COUNTERMODE_UP;
  htim1.Init.Period = 149;
  htim1.Init.ClockDivision = TIM_CLOCKDIVISION_DIV1;
  htim1.Init.RepetitionCounter = 0;
  htim1.Init.AutoReloadPreload = TIM_AUTORELOAD_PRELOAD_DISABLE;
  if (HAL_TIM_Base_Init(&htim1) != HAL_OK)
  {
    Error_Handler();
  }
  sClockSourceConfig.ClockSource = TIM_CLOCKSOURCE_INTERNAL;
  if (HAL_TIM_ConfigClockSource(&htim1, &sClockSourceConfig) != HAL_OK)
  {
    Error_Handler();
  }
  if (HAL_TIM_PWM_Init(&htim1) != HAL_OK)
  {
    Error_Handler();
  }
  sMasterConfig.MasterOutputTrigger = TIM_TRGO_RESET;
  sMasterConfig.MasterOutputTrigger2 = TIM_TRGO2_RESET;
  sMasterConfig.MasterSlaveMode = TIM_MASTERSLAVEMODE_DISABLE;
  if (HAL_TIMEx_MasterConfigSynchronization(&htim1, &sMasterConfig) != HAL_OK)
  {
    Error_Handler();
  }
  sConfigOC.OCMode = TIM_OCMODE_PWM1;
  sConfigOC.Pulse = 0;
  sConfigOC.OCPolarity = TIM_OCPOLARITY_HIGH;
  sConfigOC.OCNPolarity = TIM_OCNPOLARITY_HIGH;
  sConfigOC.OCFastMode = TIM_OCFAST_DISABLE;
  sConfigOC.OCIdleState = TIM_OCIDLESTATE_RESET;
  sConfigOC.OCNIdleState = TIM_OCNIDLESTATE_RESET;
  if (HAL_TIM_PWM_ConfigChannel(&htim1, &sConfigOC, TIM_CHANNEL_1) != HAL_OK)
  {
    Error_Handler();
  }
  sBreakDeadTimeConfig.OffStateRunMode = TIM_OSSR_DISABLE;
  sBreakDeadTimeConfig.OffStateIDLEMode = TIM_OSSI_DISABLE;
  sBreakDeadTimeConfig.LockLevel = TIM_LOCKLEVEL_OFF;
  sBreakDeadTimeConfig.DeadTime = 0;
  sBreakDeadTimeConfig.BreakState = TIM_BREAK_DISABLE;
  sBreakDeadTimeConfig.BreakPolarity = TIM_BREAKPOLARITY_HIGH;
  sBreakDeadTimeConfig.BreakFilter = 0;
  sBreakDeadTimeConfig.Break2State = TIM_BREAK2_DISABLE;
  sBreakDeadTimeConfig.Break2Polarity = TIM_BREAK2POLARITY_HIGH;
  sBreakDeadTimeConfig.Break2Filter = 0;
  sBreakDeadTimeConfig.AutomaticOutput = TIM_AUTOMATICOUTPUT_DISABLE;
  if (HAL_TIMEx_ConfigBreakDeadTime(&htim1, &sBreakDeadTimeConfig) != HAL_OK)
  {
    Error_Handler();
  }
  HAL_TIM_MspPostInit(&htim1);

}

static void MX_TIM2_Init(void)
{

  TIM_ClockConfigTypeDef sClockSourceConfig = {0};
  TIM_MasterConfigTypeDef sMasterConfig = {0};
  TIM_OC_InitTypeDef sConfigOC = {0};

  htim2.Instance = TIM2;
  htim2.Init.Prescaler = 0;
  htim2.Init.CounterMode = TIM_COUNTERMODE_UP;
  htim2.Init.Period = 149;
  htim2.Init.ClockDivision = TIM_CLOCKDIVISION_DIV1;
  htim2.Init.AutoReloadPreload = TIM_AUTORELOAD_PRELOAD_DISABLE;
  if (HAL_TIM_Base_Init(&htim2) != HAL_OK)
  {
    Error_Handler();
  }
  sClockSourceConfig.ClockSource = TIM_CLOCKSOURCE_INTERNAL;
  if (HAL_TIM_ConfigClockSource(&htim2, &sClockSourceConfig) != HAL_OK)
  {
    Error_Handler();
  }
  if (HAL_TIM_PWM_Init(&htim2) != HAL_OK)
  {
    Error_Handler();
  }
  sMasterConfig.MasterOutputTrigger = TIM_TRGO_RESET;
  sMasterConfig.MasterSlaveMode = TIM_MASTERSLAVEMODE_DISABLE;
  if (HAL_TIMEx_MasterConfigSynchronization(&htim2, &sMasterConfig) != HAL_OK)
  {
    Error_Handler();
  }
  sConfigOC.OCMode = TIM_OCMODE_PWM1;
  sConfigOC.Pulse = 0;
  sConfigOC.OCPolarity = TIM_OCPOLARITY_HIGH;
  sConfigOC.OCFastMode = TIM_OCFAST_DISABLE;
  if (HAL_TIM_PWM_ConfigChannel(&htim2, &sConfigOC, TIM_CHANNEL_1) != HAL_OK)
  {
    Error_Handler();
  }
  HAL_TIM_MspPostInit(&htim2);

}

static void MX_DMA_Init(void)
{

  /* DMA controller clock enable */
  __HAL_RCC_DMAMUX1_CLK_ENABLE();
  __HAL_RCC_DMA1_CLK_ENABLE();

  /* DMA interrupt init */
  /* DMA1_Channel1_IRQn interrupt configuration */
  HAL_NVIC_SetPriority(DMA1_Channel1_IRQn, 0, 0);
  HAL_NVIC_EnableIRQ(DMA1_Channel1_IRQn);
  /* DMA1_Channel2_IRQn interrupt configuration */
  HAL_NVIC_SetPriority(DMA1_Channel2_IRQn, 0, 0);
  HAL_NVIC_EnableIRQ(DMA1_Channel2_IRQn);
  /* DMA1_Channel3_IRQn interrupt configuration */
  HAL_NVIC_SetPriority(DMA1_Channel3_IRQn, 0, 0);
  HAL_NVIC_EnableIRQ(DMA1_Channel3_IRQn);

}

static void MX_GPIO_Init(void)
{
  GPIO_InitTypeDef GPIO_InitStruct = {0};

  /* GPIO Ports Clock Enable */
  __HAL_RCC_GPIOE_CLK_ENABLE();
  __HAL_RCC_GPIOC_CLK_ENABLE();
  __HAL_RCC_GPIOF_CLK_ENABLE();
  __HAL_RCC_GPIOH_CLK_ENABLE();
  __HAL_RCC_GPIOA_CLK_ENABLE();
  __HAL_RCC_GPIOB_CLK_ENABLE();
  __HAL_RCC_GPIOG_CLK_ENABLE();
  __HAL_RCC_GPIOD_CLK_ENABLE();
  HAL_PWREx_EnableVddIO2();

  /*Configure GPIO pin Output Level */
  HAL_GPIO_WritePin(GPIOE, GPIO_PIN_2, GPIO_PIN_RESET);

  /*Configure GPIO pin Output Level */
  HAL_GPIO_WritePin(GPIOA, GPIO_PIN_4, GPIO_PIN_RESET);

  /*Configure GPIO pin Output Level */
  HAL_GPIO_WritePin(GPIOB, GPIO_PIN_2, GPIO_PIN_RESET);

  /*Configure GPIO pin Output Level */
  HAL_GPIO_WritePin(GPIOF, GPIO_PIN_12, GPIO_PIN_RESET);

  /*Configure GPIO pin Output Level */
  HAL_GPIO_WritePin(GPIOG, GPIO_PIN_1, GPIO_PIN_RESET);

  /*Configure GPIO pin Output Level */
  HAL_GPIO_WritePin(GPIOD, GPIO_PIN_14|GPIO_PIN_15, GPIO_PIN_RESET);

  /*Configure GPIO pin : PE2 */
  GPIO_InitStruct.Pin = GPIO_PIN_2;
  GPIO_InitStruct.Mode = GPIO_MODE_OUTPUT_PP;
  GPIO_InitStruct.Pull = GPIO_NOPULL;
  GPIO_InitStruct.Speed = GPIO_SPEED_FREQ_LOW;
  HAL_GPIO_Init(GPIOE, &GPIO_InitStruct);

  /*Configure GPIO pin : PE3 */
  GPIO_InitStruct.Pin = GPIO_PIN_3;
  GPIO_InitStruct.Mode = GPIO_MODE_AF_PP;
  GPIO_InitStruct.Pull = GPIO_NOPULL;
  GPIO_InitStruct.Speed = GPIO_SPEED_FREQ_LOW;
  GPIO_InitStruct.Alternate = GPIO_AF13_SAI1;
  HAL_GPIO_Init(GPIOE, &GPIO_InitStruct);

  /*Configure GPIO pin : PC13 */
  GPIO_InitStruct.Pin = GPIO_PIN_13;
  GPIO_InitStruct.Mode = GPIO_MODE_IT_RISING;
  GPIO_InitStruct.Pull = GPIO_NOPULL;
  HAL_GPIO_Init(GPIOC, &GPIO_InitStruct);

  /*Configure GPIO pin : PF7 */
  GPIO_InitStruct.Pin = GPIO_PIN_7;
  GPIO_InitStruct.Mode = GPIO_MODE_AF_PP;
  GPIO_InitStruct.Pull = GPIO_NOPULL;
  GPIO_InitStruct.Speed = GPIO_SPEED_FREQ_LOW;
  GPIO_InitStruct.Alternate = GPIO_AF13_SAI1;
  HAL_GPIO_Init(GPIOF, &GPIO_InitStruct);

  /*Configure GPIO pin : PA4 */
  GPIO_InitStruct.Pin = GPIO_PIN_4;
  GPIO_InitStruct.Mode = GPIO_MODE_OUTPUT_PP;
  GPIO_InitStruct.Pull = GPIO_NOPULL;
  GPIO_InitStruct.Speed = GPIO_SPEED_FREQ_LOW;
  HAL_GPIO_Init(GPIOA, &GPIO_InitStruct);

  /*Configure GPIO pin : PB0 */
  GPIO_InitStruct.Pin = GPIO_PIN_0;
  GPIO_InitStruct.Mode = GPIO_MODE_AF_PP;
  GPIO_InitStruct.Pull = GPIO_NOPULL;
  GPIO_InitStruct.Speed = GPIO_SPEED_FREQ_LOW;
  GPIO_InitStruct.Alternate = GPIO_AF2_TIM3;
  HAL_GPIO_Init(GPIOB, &GPIO_InitStruct);

  /*Configure GPIO pin : PB2 */
  GPIO_InitStruct.Pin = GPIO_PIN_2;
  GPIO_InitStruct.Mode = GPIO_MODE_OUTPUT_PP;
  GPIO_InitStruct.Pull = GPIO_NOPULL;
  GPIO_InitStruct.Speed = GPIO_SPEED_FREQ_LOW;
  HAL_GPIO_Init(GPIOB, &GPIO_InitStruct);

  /*Configure GPIO pin : PF12 */
  GPIO_InitStruct.Pin = GPIO_PIN_12;
  GPIO_InitStruct.Mode = GPIO_MODE_OUTPUT_PP;
  GPIO_InitStruct.Pull = GPIO_NOPULL;
  GPIO_InitStruct.Speed = GPIO_SPEED_FREQ_LOW;
  HAL_GPIO_Init(GPIOF, &GPIO_InitStruct);

  /*Configure GPIO pin : PG0 */
  GPIO_InitStruct.Pin = GPIO_PIN_0;
  GPIO_InitStruct.Mode = GPIO_MODE_INPUT;
  GPIO_InitStruct.Pull = GPIO_NOPULL;
  HAL_GPIO_Init(GPIOG, &GPIO_InitStruct);

  /*Configure GPIO pin : PG1 */
  GPIO_InitStruct.Pin = GPIO_PIN_1;
  GPIO_InitStruct.Mode = GPIO_MODE_OUTPUT_PP;
  GPIO_InitStruct.Pull = GPIO_NOPULL;
  GPIO_InitStruct.Speed = GPIO_SPEED_FREQ_LOW;
  HAL_GPIO_Init(GPIOG, &GPIO_InitStruct);

  /*Configure GPIO pins : PB12 PB13 PB15 */
  GPIO_InitStruct.Pin = GPIO_PIN_12|GPIO_PIN_13|GPIO_PIN_15;
  GPIO_InitStruct.Mode = GPIO_MODE_AF_PP;
  GPIO_InitStruct.Pull = GPIO_NOPULL;
  GPIO_InitStruct.Speed = GPIO_SPEED_FREQ_LOW;
  GPIO_InitStruct.Alternate = GPIO_AF13_SAI2;
  HAL_GPIO_Init(GPIOB, &GPIO_InitStruct);

  /*Configure GPIO pin : PB14 */
  GPIO_InitStruct.Pin = GPIO_PIN_14;
  GPIO_InitStruct.Mode = GPIO_MODE_AF_PP;
  GPIO_InitStruct.Pull = GPIO_NOPULL;
  GPIO_InitStruct.Speed = GPIO_SPEED_FREQ_LOW;
  GPIO_InitStruct.Alternate = GPIO_AF14_TIM15;
  HAL_GPIO_Init(GPIOB, &GPIO_InitStruct);

  /*Configure GPIO pins : PD8 PD9 */
  GPIO_InitStruct.Pin = GPIO_PIN_8|GPIO_PIN_9;
  GPIO_InitStruct.Mode = GPIO_MODE_AF_PP;
  GPIO_InitStruct.Pull = GPIO_NOPULL;
  GPIO_InitStruct.Speed = GPIO_SPEED_FREQ_VERY_HIGH;
  GPIO_InitStruct.Alternate = GPIO_AF7_USART3;
  HAL_GPIO_Init(GPIOD, &GPIO_InitStruct);

  /*Configure GPIO pins : PD14 PD15 */
  GPIO_InitStruct.Pin = GPIO_PIN_14|GPIO_PIN_15;
  GPIO_InitStruct.Mode = GPIO_MODE_OUTPUT_PP;
  GPIO_InitStruct.Pull = GPIO_NOPULL;
  GPIO_InitStruct.Speed = GPIO_SPEED_FREQ_LOW;
  HAL_GPIO_Init(GPIOD, &GPIO_InitStruct);

  /*Configure GPIO pin : PC6 */
  GPIO_InitStruct.Pin = GPIO_PIN_6;
  GPIO_InitStruct.Mode = GPIO_MODE_INPUT;
  GPIO_InitStruct.Pull = GPIO_NOPULL;
  HAL_GPIO_Init(GPIOC, &GPIO_InitStruct);

  /*Configure GPIO pin : PC7 */
  GPIO_InitStruct.Pin = GPIO_PIN_7;
  GPIO_InitStruct.Mode = GPIO_MODE_AF_PP;
  GPIO_InitStruct.Pull = GPIO_NOPULL;
  GPIO_InitStruct.Speed = GPIO_SPEED_FREQ_LOW;
  GPIO_InitStruct.Alternate = GPIO_AF2_TIM3;
  HAL_GPIO_Init(GPIOC, &GPIO_InitStruct);

  /*Configure GPIO pins : PC8 PC9 PC10 PC11
                           PC12 */
  GPIO_InitStruct.Pin = GPIO_PIN_8|GPIO_PIN_9|GPIO_PIN_10|GPIO_PIN_11
                          |GPIO_PIN_12;
  GPIO_InitStruct.Mode = GPIO_MODE_AF_PP;
  GPIO_InitStruct.Pull = GPIO_NOPULL;
  GPIO_InitStruct.Speed = GPIO_SPEED_FREQ_VERY_HIGH;
  GPIO_InitStruct.Alternate = GPIO_AF12_SDMMC1;
  HAL_GPIO_Init(GPIOC, &GPIO_InitStruct);

  /*Configure GPIO pins : PA8 PA10 */
  GPIO_InitStruct.Pin = GPIO_PIN_8|GPIO_PIN_10;
  GPIO_InitStruct.Mode = GPIO_MODE_AF_PP;
  GPIO_InitStruct.Pull = GPIO_NOPULL;
  GPIO_InitStruct.Speed = GPIO_SPEED_FREQ_VERY_HIGH;
  GPIO_InitStruct.Alternate = GPIO_AF10_OTG_FS;
  HAL_GPIO_Init(GPIOA, &GPIO_InitStruct);

  /*Configure GPIO pin : PA9 */
  GPIO_InitStruct.Pin = GPIO_PIN_9;
  GPIO_InitStruct.Mode = GPIO_MODE_INPUT;
  GPIO_InitStruct.Pull = GPIO_NOPULL;
  HAL_GPIO_Init(GPIOA, &GPIO_InitStruct);

  /*Configure GPIO pin : PD0 */
  GPIO_InitStruct.Pin = GPIO_PIN_0;
  GPIO_InitStruct.Mode = GPIO_MODE_AF_PP;
  GPIO_InitStruct.Pull = GPIO_NOPULL;
  GPIO_InitStruct.Speed = GPIO_SPEED_FREQ_VERY_HIGH;
  GPIO_InitStruct.Alternate = GPIO_AF9_CAN1;
  HAL_GPIO_Init(GPIOD, &GPIO_InitStruct);

  /*Configure GPIO pin : PD2 */
  GPIO_InitStruct.Pin = GPIO_PIN_2;
  GPIO_InitStruct.Mode = GPIO_MODE_AF_PP;
  GPIO_InitStruct.Pull = GPIO_NOPULL;
  GPIO_InitStruct.Speed = GPIO_SPEED_FREQ_VERY_HIGH;
  GPIO_InitStruct.Alternate = GPIO_AF12_SDMMC1;
  HAL_GPIO_Init(GPIOD, &GPIO_InitStruct);

  /*Configure GPIO pins : PD4 PD5 PD6 */
  GPIO_InitStruct.Pin = GPIO_PIN_4|GPIO_PIN_5|GPIO_PIN_6;
  GPIO_InitStruct.Mode = GPIO_MODE_AF_PP;
  GPIO_InitStruct.Pull = GPIO_NOPULL;
  GPIO_InitStruct.Speed = GPIO_SPEED_FREQ_VERY_HIGH;
  GPIO_InitStruct.Alternate = GPIO_AF7_USART2;
  HAL_GPIO_Init(GPIOD, &GPIO_InitStruct);

  /*Configure GPIO pin : PB6 */
  GPIO_InitStruct.Pin = GPIO_PIN_6;
  GPIO_InitStruct.Mode = GPIO_MODE_ANALOG;
  GPIO_InitStruct.Pull = GPIO_NOPULL;
  HAL_GPIO_Init(GPIOB, &GPIO_InitStruct);

  /*Configure GPIO pin : PE0 */
  GPIO_InitStruct.Pin = GPIO_PIN_0;
  GPIO_InitStruct.Mode = GPIO_MODE_AF_PP;
  GPIO_InitStruct.Pull = GPIO_NOPULL;
  GPIO_InitStruct.Speed = GPIO_SPEED_FREQ_LOW;
  GPIO_InitStruct.Alternate = GPIO_AF2_TIM4;
  HAL_GPIO_Init(GPIOE, &GPIO_InitStruct);

  /* EXTI interrupt init*/
  HAL_NVIC_SetPriority(EXTI15_10_IRQn, 0, 0);
  HAL_NVIC_EnableIRQ(EXTI15_10_IRQn);

}

/* USER CODE BEGIN 4 */
#ifdef __GNUC__
#define PUTCHAR_PROTOTYPE int __io_putchar(int ch)
#else
  #define PUTCHAR_PROTOTYPE int fputc(int ch, FILE *f)
#endif /* __GNUC__ */
PUTCHAR_PROTOTYPE
{
  HAL_UART_Transmit(&hlpuart1, (uint8_t *)&ch, 1, 0xFFFF);
  return ch;
}

/* USER CODE END 4 */

void Error_Handler(void)
{
  __disable_irq();
  while (1)
  {
  }
}
